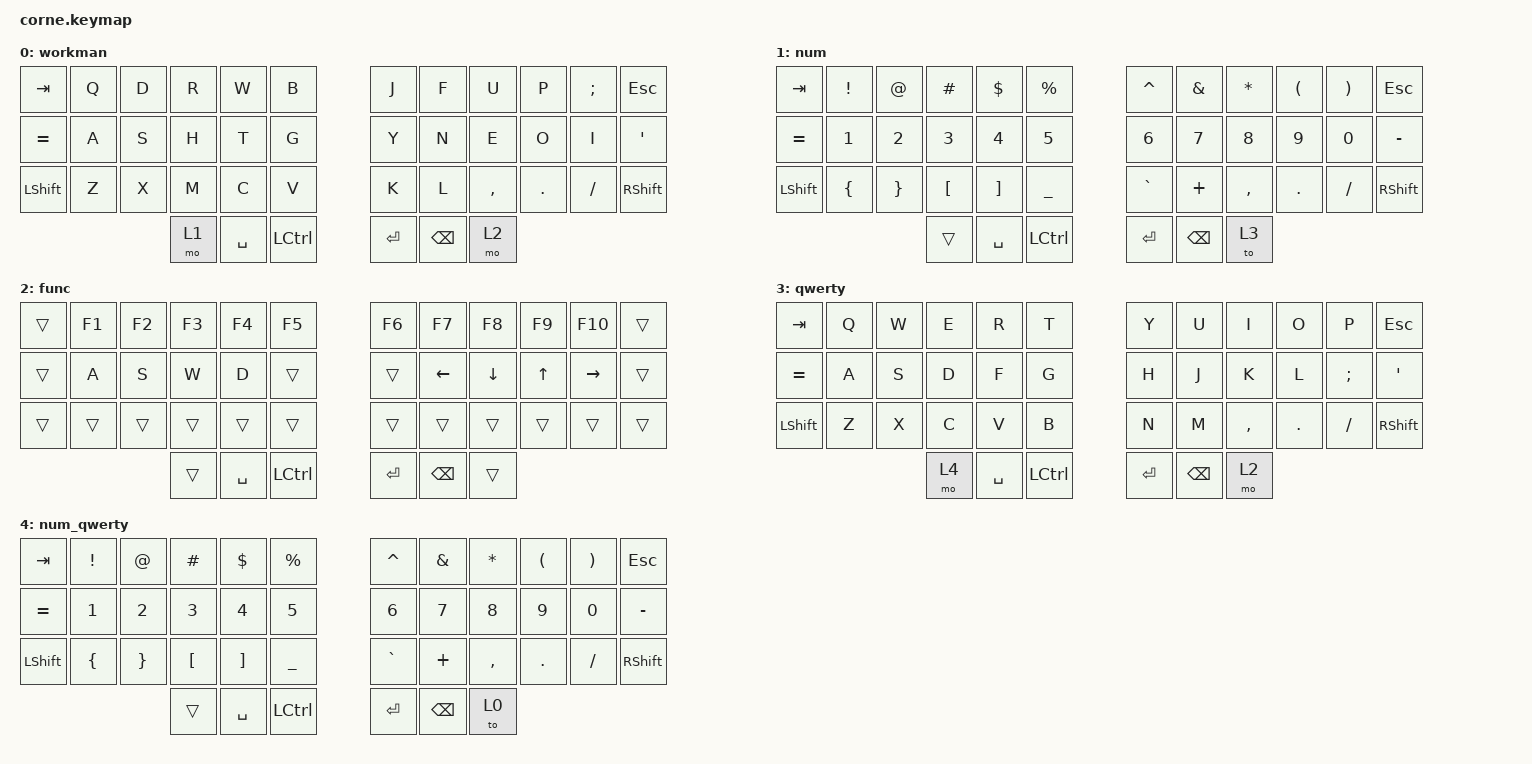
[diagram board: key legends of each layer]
/*
 * Copyright (c) 2020 The ZMK Contributors
 *
 * SPDX-License-Identifier: MIT
 */

#include <behaviors.dtsi>
#include <dt-bindings/zmk/keys.h>

/ {
    behaviors {
        hm: homerow_mods {
            compatible = "zmk,behavior-hold-tap";
            #binding-cells = <2>;
            tapping-term-ms = <200>;
            quick-tap-ms = <0>;
            flavor = "tap-preferred";
            bindings = <&kp>, <&kp>;
        };
    };

    keymap {
        compatible = "zmk,keymap";

        workman {
            // -----------------------------------------------------------------------------------------
            // |  TAB |  Q  |  W  |  E  |  R  |  T  |   |  Y  |  U   |  I  |  O  |  P  | BKSP |
            // | CTRL |  A  |  S  |  D  |  F  |  G  |   |  H  |  J   |  K  |  L  |  ;  |  '   |
            // | SHFT |  Z  |  X  |  C  |  V  |  B  |   |  N  |  M   |  ,  |  .  |  /  | ESC  |
            //                    | GUI | LWR | SPC |   | ENT | RSE  | ALT |

            bindings = <
&kp TAB         &kp Q  &kp D  &kp R  &kp W      &kp B               &kp J      &kp F          &kp U      &kp P    &kp SEMICOLON  &kp ESC
&kp EQUAL       &kp A  &kp S  &kp H  &kp T      &kp G               &kp Y      &kp N          &kp E      &kp O    &kp I          &kp SQT
&kp LEFT_SHIFT  &kp Z  &kp X  &kp M  &kp C      &kp V               &kp K      &kp L          &kp COMMA  &kp DOT  &kp FSLH       &kp RIGHT_SHIFT
                              &mo 1  &kp SPACE  &kp LEFT_CONTROL    &kp ENTER  &kp BACKSPACE  &mo 2
            >;
        };

        num {
            // -----------------------------------------------------------------------------------------
            // |  TAB |  1  |  2  |  3  |  4  |  5  |   |  6  |  7  |  8  |  9  |  0  | BKSP |
            // | BTCLR| BT1 | BT2 | BT3 | BT4 | BT5 |   | LFT | DWN |  UP | RGT |     |      |
            // | SHFT |     |     |     |     |     |   |     |     |     |     |     |      |
            //                    | GUI |     | SPC |   | ENT |     | ALT |

            bindings = <
&kp TAB    &kp EXCL        &kp AT           &kp HASH          &kp DOLLAR         &kp PERCENT         &kp CARET     &kp AMPERSAND  &kp STAR   &kp LEFT_PARENTHESIS  &kp RIGHT_PARENTHESIS  &kp ESCAPE
&kp EQUAL  &kp NUMBER_1    &kp NUMBER_2     &kp NUMBER_3      &kp NUMBER_4       &kp N5              &kp NUMBER_6  &kp N7         &kp N8     &kp N9                &kp N0                 &kp MINUS
&kp LSHFT  &kp LEFT_BRACE  &kp RIGHT_BRACE  &kp LEFT_BRACKET  &kp RIGHT_BRACKET  &kp UNDER           &kp GRAVE     &kp PLUS       &kp COMMA  &kp PERIOD            &kp SLASH              &kp RIGHT_SHIFT
                                            &trans            &kp SPACE          &kp LEFT_CONTROL    &kp RETURN    &kp BACKSPACE  &to 3
            >;
        };

        func {
            // -----------------------------------------------------------------------------------------
            // |  TAB |  !  |  @  |  #  |  $  |  %  |   |  ^  |  &  |  *  |  (  |  )  | BKSP |
            // | CTRL |     |     |     |     |     |   |  -  |  =  |  [  |  ]  |  \  |  `   |
            // | SHFT |     |     |     |     |     |   |  _  |  +  |  {  |  }  | "|" |  ~   |
            //                    | GUI |     | SPC |   | ENT |     | ALT |

            bindings = <
&trans  &kp F1  &kp F2  &kp F3  &kp F4     &kp F5              &kp F6      &kp F7          &kp F8          &kp F9        &kp F10          &trans
&trans  &kp A   &kp S   &kp W   &kp D      &trans              &trans      &kp LEFT_ARROW  &kp DOWN_ARROW  &kp UP_ARROW  &kp RIGHT_ARROW  &trans
&trans  &trans  &trans  &trans  &trans     &trans              &trans      &trans          &trans          &trans        &trans           &trans
                        &trans  &kp SPACE  &kp LEFT_CONTROL    &kp RETURN  &kp BACKSPACE   &trans
            >;
        };

        qwerty {
            bindings = <
&kp TAB         &kp Q  &kp W  &kp E  &kp R      &kp T               &kp Y       &kp U          &kp I      &kp O    &kp P          &kp ESC
&kp EQUAL       &kp A  &kp S  &kp D  &kp F      &kp G               &kp H       &kp J          &kp K      &kp L    &kp SEMICOLON  &kp SQT
&kp LEFT_SHIFT  &kp Z  &kp X  &kp C  &kp V      &kp B               &kp N       &kp M          &kp COMMA  &kp DOT  &kp FSLH       &kp RIGHT_SHIFT
                              &mo 4  &kp SPACE  &kp LEFT_CONTROL    &kp RETURN  &kp BACKSPACE  &mo 2
            >;
        };

        num_qwerty {
            bindings = <
&kp TAB    &kp EXCL        &kp AT           &kp HASH          &kp DOLLAR         &kp PERCENT         &kp CARET     &kp AMPERSAND  &kp STAR   &kp LEFT_PARENTHESIS  &kp RIGHT_PARENTHESIS  &kp ESCAPE
&kp EQUAL  &kp NUMBER_1    &kp NUMBER_2     &kp NUMBER_3      &kp NUMBER_4       &kp N5              &kp NUMBER_6  &kp N7         &kp N8     &kp N9                &kp N0                 &kp MINUS
&kp LSHFT  &kp LEFT_BRACE  &kp RIGHT_BRACE  &kp LEFT_BRACKET  &kp RIGHT_BRACKET  &kp UNDER           &kp GRAVE     &kp PLUS       &kp COMMA  &kp PERIOD            &kp SLASH              &kp RIGHT_SHIFT
                                            &trans            &kp SPACE          &kp LEFT_CONTROL    &kp RETURN    &kp BACKSPACE  &to 0
            >;
        };
    };
};
